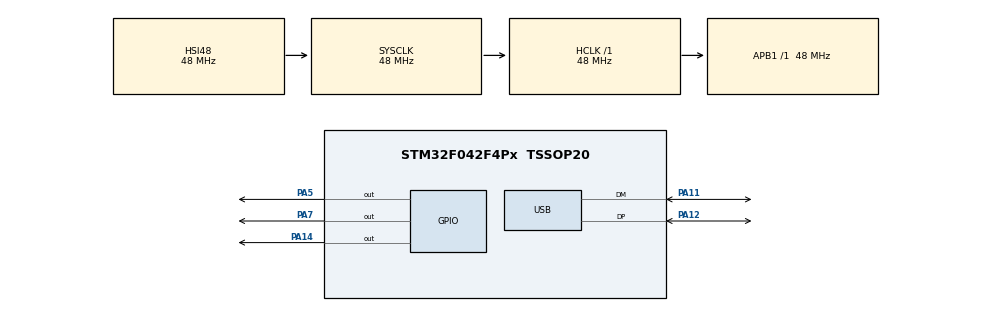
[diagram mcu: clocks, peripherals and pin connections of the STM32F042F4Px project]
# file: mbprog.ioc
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Mcu.Family=STM32F0
Mcu.Name=STM32F042F4Px
Mcu.Package=TSSOP20
NVIC.USB_IRQn=true\:0\:0\:false\:false\:true\:false
PA11.Mode=Device
PA11.Signal=USB_DM
PA12.Mode=Device
PA12.Signal=USB_DP
PA14.Signal=GPIO_Output
PA5.Signal=GPIO_Output
PA7.Signal=GPIO_Output
ProjectManager.HeapSize=0x200
ProjectManager.StackSize=0x400
ProjectManager.TargetToolchain=MDK-ARM V5
RCC.AHBFreq_Value=48000000
RCC.APB1Freq_Value=48000000
RCC.APB1TimFreq_Value=48000000
RCC.HCLKFreq_Value=48000000
RCC.SYSCLKFreq_VALUE=48000000
RCC.SYSCLKSource=RCC_SYSCLKSOURCE_HSI48
USB_DEVICE.CLASS_NAME_FS=CDC
USB_DEVICE.VirtualMode=Cdc
USB_DEVICE.VirtualModeFS=Cdc_FS
VP_SYS_VS_PINREMAP.Mode=PINREMAP
VP_USB_DEVICE_VS_USB_DEVICE_CDC_FS.Mode=CDC_FS
board=mbprog

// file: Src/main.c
/**
  ******************************************************************************
  * File Name          : main.c
  * Description        : Main program body
  ******************************************************************************
  * This notice applies to any and all portions of this file
  * that are not between comment pairs USER CODE BEGIN and
  * USER CODE END. Other portions of this file, whether
  * inserted by the user or by software development tools
  * are owned by their respective copyright owners.
  *
  * Copyright (c) 2017 STMicroelectronics International N.V.
  * All rights reserved.
  *
  * Redistribution and use in source and binary forms, with or without
  * modification, are permitted, provided that the following conditions are met:
  *
  * 1. Redistribution of source code must retain the above copyright notice,
  *    this list of conditions and the following disclaimer.
  * 2. Redistributions in binary form must reproduce the above copyright notice,
  *    this list of conditions and the following disclaimer in the documentation
  *    and/or other materials provided with the distribution.
  * 3. Neither the name of STMicroelectronics nor the names of other
  *    contributors to this software may be used to endorse or promote products
  *    derived from this software without specific written permission.
  * 4. This software, including modifications and/or derivative works of this
  *    software, must execute solely and exclusively on microcontroller or
  *    microprocessor devices manufactured by or for STMicroelectronics.
  * 5. Redistribution and use of this software other than as permitted under
  *    this license is void and will automatically terminate your rights under
  *    this license.
  *
  * THIS SOFTWARE IS PROVIDED BY STMICROELECTRONICS AND CONTRIBUTORS "AS IS"
  * AND ANY EXPRESS, IMPLIED OR STATUTORY WARRANTIES, INCLUDING, BUT NOT
  * LIMITED TO, THE IMPLIED WARRANTIES OF MERCHANTABILITY, FITNESS FOR A
  * PARTICULAR PURPOSE AND NON-INFRINGEMENT OF THIRD PARTY INTELLECTUAL PROPERTY
  * RIGHTS ARE DISCLAIMED TO THE FULLEST EXTENT PERMITTED BY LAW. IN NO EVENT
  * SHALL STMICROELECTRONICS OR CONTRIBUTORS BE LIABLE FOR ANY DIRECT, INDIRECT,
  * INCIDENTAL, SPECIAL, EXEMPLARY, OR CONSEQUENTIAL DAMAGES (INCLUDING, BUT NOT
  * LIMITED TO, PROCUREMENT OF SUBSTITUTE GOODS OR SERVICES; LOSS OF USE, DATA,
  * OR PROFITS; OR BUSINESS INTERRUPTION) HOWEVER CAUSED AND ON ANY THEORY OF
  * LIABILITY, WHETHER IN CONTRACT, STRICT LIABILITY, OR TORT (INCLUDING
  * NEGLIGENCE OR OTHERWISE) ARISING IN ANY WAY OUT OF THE USE OF THIS SOFTWARE,
  * EVEN IF ADVISED OF THE POSSIBILITY OF SUCH DAMAGE.
  *
  ******************************************************************************
  */

#include "main.h"
#include "stm32f0xx_hal.h"
#include "usb_device.h"

#include "programmer.h"

/* USER CODE BEGIN PV */
/* Private variables ---------------------------------------------------------*/

/* USER CODE END PV */

void SystemClock_Config(void);
static void MX_GPIO_Init(void);

/* USER CODE BEGIN PFP */
/* Private function prototypes -----------------------------------------------*/

/* USER CODE END PFP */

/* USER CODE BEGIN 0 */
char buf[128];
uint32_t state;
uint8_t cmd;
uint32_t param_len;
static uint8_t write_buf_flg;
static uint8_t read_buf_flg;
static uint8_t read_flg;
static uint8_t write_flg;
static uint8_t erase_flg;

#define CMD_WRITE_BUF 	0x31
#define CMD_READ_BUF 	0x32
#define CMD_WRITE 		0x33
#define CMD_READ 		0x34
#define CMD_ERASE 		0x35

#define STATE_IDLE  0
#define STATE_BITCNT 1
#define STATE_OFFSET 2
#define STATE_DATLEN 3
#define STATE_DATA 4

#define PAGE_SIZE 512

/* USER CODE END 0 */

uint8_t addr_buf[2];

uint8_t rnw;
uint8_t offset;
uint8_t bit_cnt;
uint8_t data_len;
uint8_t read_data_buf[128];
uint8_t write_data_buf[128];

void delay_us(uint32_t Number)
{
    volatile uint32_t i=0;
    while(Number--){
        i = 10; while(i--);
    }
}

void bitbang_interface_write(int clk, int nothing, int tdi)
{
    if (tdi) {
        GPIOA->BSRR = SWDIO;
    } else {
        GPIOA->BRR = SWDIO;
    }
    if (clk) {
        GPIOA->BSRR = SWCLK;
    } else {
        GPIOA->BRR = SWCLK;
    }
    delay_us(1);
}
int bitbang_interface_swdio_read()
{
    return !!(GPIOA->IDR & SWDIO);
}

static void bitbang_exchange(uint8_t rnw, uint8_t buf[], unsigned int offset, unsigned int bit_cnt)
{
    int tdi;

    for (unsigned int i = offset; i < bit_cnt + offset; i++) {
        int bytec = i/8;
        int bcval = 1 << (i % 8);
        tdi = !rnw && (buf[bytec] & bcval);

        bitbang_interface_write(0, 0, tdi);

        if (rnw && buf) {
            if (bitbang_interface_swdio_read())
                buf[bytec] |= bcval;
            else
                buf[bytec] &= ~bcval;
        }

        bitbang_interface_write(1, 0, tdi);
    }
}

void process_usb(uint8_t* buf, uint32_t len)
{
    uint32_t i;
    static uint32_t pi;
    uint8_t ch;
    i = 0;
    while(i < len) {
        switch(state) {
        case STATE_IDLE:
            switch(buf[i++]) {
            case 0xE0:
                SET_DIO_INPUT();
                break;
            case 0xE1:
                SET_DIO_OUTPUT();
                break;
            case 0xF0:
                rnw = 0;
                state = STATE_BITCNT;
                pi = 0;
                break;
            case 0xF1:
                rnw = 1;
                state = STATE_BITCNT;
                pi = 0;
                break;
            default:
                break;
            }
            break;
        case STATE_BITCNT:
            ch = buf[i++];
            if (pi & 0x01) {
                bit_cnt |= (ch > '9' ? ch - 'A' + 10 : ch - '0');
            } else {
                bit_cnt = ((ch > '9' ? ch - 'A' + 10 : ch - '0') << 4);
            };
            pi++;
            if (pi == 2) {
                pi = 0;
                state = STATE_OFFSET;
            }
            break;
        case STATE_OFFSET:
            ch = buf[i++];
            if (pi & 0x01) {
                offset |= (ch > '9' ? ch - 'A' + 10 : ch - '0');
            } else {
                offset = ((ch > '9' ? ch - 'A' + 10 : ch - '0') << 4);
            };
            pi++;
            if (pi == 2) {
                pi = 0;
                state = STATE_DATLEN;
                //write_flg = 1;
            }
            break;
        case STATE_DATLEN:
            ch = buf[i++];
            if (pi & 0x01) {
                data_len |= (ch > '9' ? ch - 'A' + 10 : ch - '0');
            } else {
                data_len = ((ch > '9' ? ch - 'A' + 10 : ch - '0') << 4);
            };
            pi++;
            if (pi == 2) {
                pi = 0;
                if (data_len == 0) {
                    read_flg = 1;
                    state = STATE_IDLE;
                } else if (rnw){
                    read_flg = 1;
                    state = STATE_IDLE;
                } else {
                    state = STATE_DATA;
                }
            }
            break;
        case STATE_DATA:
            ch = buf[i++];
            if (pi & 0x01) {
                write_data_buf[pi / 2] |= (ch > '9' ? ch - 'A' + 10 : ch - '0');
            } else {
                write_data_buf[pi / 2] = ((ch > '9' ? ch - 'A' + 10 : ch - '0') << 4);
            }
            pi++;
            if (pi/2 == data_len) {
                write_flg = 1;
                state = STATE_IDLE;
            }
            break;
        }
    }
}

#define GET_UPPER_HEX(x) ((((x) >> 4) & 0x0F) > 9 ? ((((x) >> 4) & 0x0F) - 10 + 'A') : ((((x) >> 4) & 0x0F) + '0'))
#define GET_LOWER_HEX(x) (((x) & 0x0F) > 9 ? (((x) & 0x0F) - 10 + 'A') : (((x) & 0x0F) + '0'))

/* USER CODE END 0 */

int main(void)
{

  /* USER CODE BEGIN 1 */
    uint32_t i;
    uint32_t addr;
    unsigned char chip_id = 0;
    unsigned char debug_config = 0;
    state = 0;
    write_buf_flg = 0;
    read_buf_flg = 0;
    write_flg = 0;
    read_flg = 0;
    erase_flg = 0;
  /* USER CODE END 1 */

  /* MCU Configuration----------------------------------------------------------*/

  /* Reset of all peripherals, Initializes the Flash interface and the Systick. */
  HAL_Init();

  /* Configure the system clock */
  SystemClock_Config();

  /* Initialize all configured peripherals */
  MX_GPIO_Init();
  programmer_init();
  MX_USB_DEVICE_Init();

  /* Infinite loop */
  while (1)
  {
        if (read_flg) {
            read_flg = 0;
            if (data_len == 0) {
                bitbang_exchange(rnw, NULL, offset, bit_cnt);
            } else {
                bitbang_exchange(rnw, read_data_buf, offset, bit_cnt);
            }
            for (i = 0; i < data_len; i++) {
//                sprintf(&(buf[0]), "%02X", read_data_buf[i]);
                buf[0] = GET_UPPER_HEX(read_data_buf[i]);
                buf[1] = GET_LOWER_HEX(read_data_buf[i]);
                //delay_us(2000);
                while(CDC_Transmit_FS((uint8_t *)buf, 2) != USBD_OK);
            }
        }
        if (write_flg) {
            write_flg = 0;
            if (data_len == 0) {
                bitbang_exchange(rnw, NULL, offset, bit_cnt);
            } else {
                bitbang_exchange(rnw, write_data_buf, offset, bit_cnt);
            }
            buf[0] = GET_UPPER_HEX(bit_cnt);
            buf[1] = GET_LOWER_HEX(bit_cnt);
            while(CDC_Transmit_FS((uint8_t *)buf, 2) != USBD_OK);
        }
  }

}

/** System Clock Configuration
*/
void SystemClock_Config(void)
{

  RCC_OscInitTypeDef RCC_OscInitStruct;
  RCC_ClkInitTypeDef RCC_ClkInitStruct;
  RCC_PeriphCLKInitTypeDef PeriphClkInit;

    /**Initializes the CPU, AHB and APB busses clocks
    */
  RCC_OscInitStruct.OscillatorType = RCC_OSCILLATORTYPE_HSI48;
  RCC_OscInitStruct.HSI48State = RCC_HSI48_ON;
  RCC_OscInitStruct.PLL.PLLState = RCC_PLL_NONE;
  if (HAL_RCC_OscConfig(&RCC_OscInitStruct) != HAL_OK)
  {
    _Error_Handler(__FILE__, __LINE__);
  }

    /**Initializes the CPU, AHB and APB busses clocks
    */
  RCC_ClkInitStruct.ClockType = RCC_CLOCKTYPE_HCLK|RCC_CLOCKTYPE_SYSCLK
                              |RCC_CLOCKTYPE_PCLK1;
  RCC_ClkInitStruct.SYSCLKSource = RCC_SYSCLKSOURCE_HSI48;
  RCC_ClkInitStruct.AHBCLKDivider = RCC_SYSCLK_DIV1;
  RCC_ClkInitStruct.APB1CLKDivider = RCC_HCLK_DIV1;

  if (HAL_RCC_ClockConfig(&RCC_ClkInitStruct, FLASH_LATENCY_1) != HAL_OK)
  {
    _Error_Handler(__FILE__, __LINE__);
  }

  PeriphClkInit.PeriphClockSelection = RCC_PERIPHCLK_USB;
  PeriphClkInit.UsbClockSelection = RCC_USBCLKSOURCE_HSI48;

  if (HAL_RCCEx_PeriphCLKConfig(&PeriphClkInit) != HAL_OK)
  {
    _Error_Handler(__FILE__, __LINE__);
  }

    /**Configure the Systick interrupt time
    */
  HAL_SYSTICK_Config(HAL_RCC_GetHCLKFreq()/1000);

    /**Configure the Systick
    */
  HAL_SYSTICK_CLKSourceConfig(SYSTICK_CLKSOURCE_HCLK);

  /* SysTick_IRQn interrupt configuration */
  HAL_NVIC_SetPriority(SysTick_IRQn, 0, 0);
}

/** Configure pins as
        * Analog
        * Input
        * Output
        * EVENT_OUT
        * EXTI
*/
static void MX_GPIO_Init(void)
{

  GPIO_InitTypeDef GPIO_InitStruct;

  /* GPIO Ports Clock Enable */
  __HAL_RCC_GPIOA_CLK_ENABLE();

  /*Configure GPIO pin Output Level */
  HAL_GPIO_WritePin(GPIOA, GPIO_PIN_5|GPIO_PIN_7, GPIO_PIN_RESET);

  /*Configure GPIO pins : PA5 PA7 PA14 */
  GPIO_InitStruct.Pin = GPIO_PIN_5|GPIO_PIN_7;
  GPIO_InitStruct.Mode = GPIO_MODE_OUTPUT_PP;
  GPIO_InitStruct.Pull = GPIO_NOPULL;
  GPIO_InitStruct.Speed = GPIO_SPEED_FREQ_LOW;
  HAL_GPIO_Init(GPIOA, &GPIO_InitStruct);

}

void _Error_Handler(char * file, int line)
{
  while(1)
  {
  }
}

/************************ (C) COPYRIGHT STMicroelectronics *****END OF FILE****/
